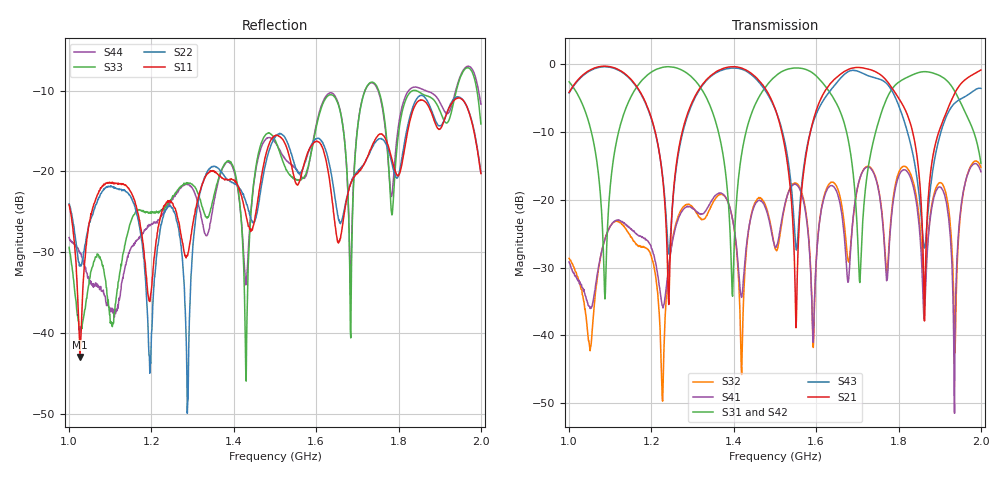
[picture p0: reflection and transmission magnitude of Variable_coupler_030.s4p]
#  HZ  S  DB  R  50.00
! Rohde & Schwarz Vector Network Analyzer
! Rohde-Schwarz,ZNB8-4Port,1311601044102961,2.82
! Created: UTC 1/17/2019, 3:09:58 PM
! freq[Hz]  db:S11  ang:S11  db:S12  ang:S12  db:S13  ang:S13  db:S14  ang:S14
!  db:S21  ang:S21  db:S22  ang:S22  db:S23  ang:S23  db:S24  ang:S24
!  db:S31  ang:S31  db:S32  ang:S32  db:S33  ang:S33  db:S34  ang:S34
!  db:S41  ang:S41  db:S42  ang:S42  db:S43  ang:S43  db:S44  ang:S44
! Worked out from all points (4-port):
!   1001 points, 1 GHz to 2 GHz, reference 50 ohm
!   strongest paths, dB at 1 GHz, 1.25 GHz, 1.5 GHz, 1.75 GHz, 2 GHz:
!     S21: -4.2, -21.7, -6.5, -1.3, -0.9
!     S43: -4.3, -21.7, -6.6, -2.2, -3.6
!     S31: -2.6, -0.4, -1.8, -8.8, -14.6
!     S42: -2.6, -0.5, -1.9, -8.8, -15.1
!     S41: -29.2, -26.5, -26.9, -18.2, -15.9
!     S32: -28.6, -26.2, -27.1, -18.0, -15.2
!   lowest |S11| = -43.0 dB at 1.026 GHz (marker M1), VSWR 1.01, Z = 49.6 + j0.569 ohm
!   |S11| at or under -10 dB: start of sweep to end of sweep
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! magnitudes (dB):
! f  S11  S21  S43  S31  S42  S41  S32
! 1 GHz  -24.2  -4.2  -4.3  -2.6  -2.6  -29.2  -28.6
! 1.026 GHz  -43.0  -2.0  -2.1  -5.1  -5.1  -32.1  -32.4
! 1.087 GHz  -21.6  -0.3  -0.4  -34.6  -56.0  -25.8  -25.8
! 1.242 GHz  -23.7  -35.4  -28.0  -0.4  -0.4  -29.8  -29.9
! 1.396 GHz  -21.0  -0.4  -0.6  -33.8  -39.8  -22.6  -22.6
! 1.551 GHz  -21.5  -38.9  -27.1  -0.6  -0.6  -17.7  -17.6
! 2 GHz  -20.3  -0.9  -3.6  -14.6  -15.1  -15.9  -15.2
